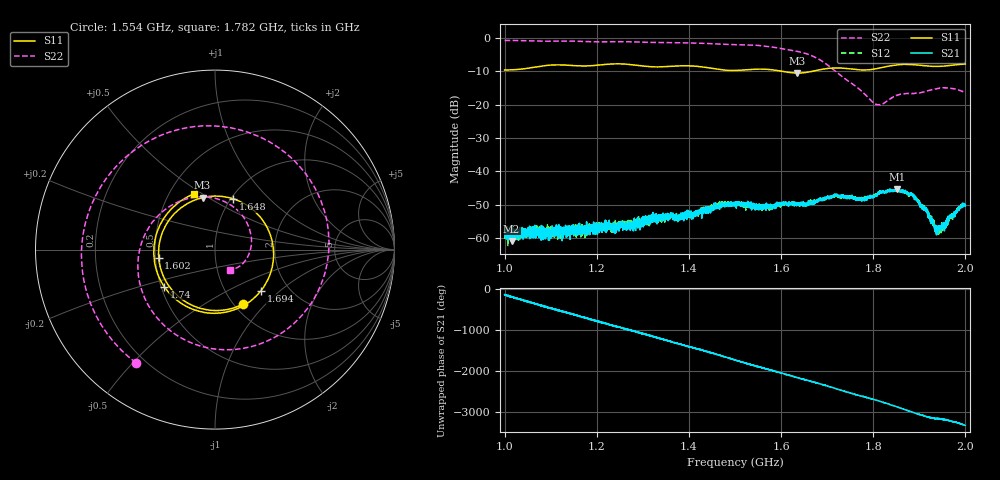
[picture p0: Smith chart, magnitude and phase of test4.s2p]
!Keysight Technologies N9923A: A.08.15
!Date: Friday, 16 February 2024 15:23:23
!Timezone: (GMT-05:00) Eastern Time (US & Canada)
!Model: N9923A
!Serial: MY52412730
!GPS Latitude:
!GPS Longitude:
!GPS TimeStamp: 0001-01-01 00:00:00Z
!GPS Seconds Since Last Read: 0
!CHECKSUM:0750090515
!Correction: S11(ON Q)S21(ON Q)S12(ON Q)S22(ON Q)
!S2P File: Measurements:S11,S21,S12,S22:
# Hz S DB R 50
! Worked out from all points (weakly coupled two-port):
!   4001 points, 1 GHz to 2 GHz, reference 50 ohm
!   highest |S21| = -45.29 dB at 1.852 GHz (marker M1); lowest = -60.9 dB at 1.015 GHz (marker M2)
!   lowest |S11| = -10.5 dB at 1.635 GHz (marker M3), VSWR 1.85, Z = 37.1 + j23.6 ohm
!   |S11| at or under -10 dB: 1.602 GHz to 1.668 GHz (65.1 MHz wide, 3.98 % of centre)
!   |S22| runs from -20.0 to -0.7 dB; largest |S21 - S12| = 0.00083
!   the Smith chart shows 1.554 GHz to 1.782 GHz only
!   S11 on the Smith chart (normalised r, x): 1.554 GHz: 1.09, -0.75; 1.602 GHz: 0.52, -0.05; 1.648 GHz: 1.03, +0.64; 1.694 GHz: 1.46, -0.75; 1.74 GHz: 0.52, -0.24; 1.782 GHz: 0.66, +0.46
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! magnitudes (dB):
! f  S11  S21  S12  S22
! 1 GHz  -9.6  -57.6  -58.0  -0.8
! 1.015 GHz  -9.6  -60.9  -57.8  -0.8
! 1.167 GHz  -8.4  -56.7  -57.1  -1.0
! 1.244 GHz  -7.8  -57.0  -56.5  -1.1
! 1.333 GHz  -8.7  -53.0  -53.9  -1.4
! 1.378 GHz  -8.4  -53.4  -53.3  -1.4
! 1.5 GHz  -9.7  -49.7  -49.6  -2.0
! 1.554 GHz  -9.3  -50.9  -51.1  -2.3
! 1.602 GHz  -10.0  -49.9  -49.5  -3.2
! 1.635 GHz  -10.5  -49.8  -50.2  -4.0
! 1.648 GHz  -10.4  -49.0  -49.4  -4.5
! 1.667 GHz  -10.0  -49.5  -49.0  -5.3
! 1.694 GHz  -9.3  -48.2  -48.5  -7.4
! 1.74 GHz  -9.1  -47.9  -47.7  -12.3
! 1.782 GHz  -9.6  -47.8  -47.8  -17.0
! 1.808 GHz  -9.2  -46.9  -46.9  -20.0
! 1.833 GHz  -8.5  -45.9  -45.8  -18.6
! 1.852 GHz  -8.1  -45.3  -45.7  -17.2
! 1.889 GHz  -8.0  -47.6  -47.3  -16.6
! 1.915 GHz  -8.4  -50.9  -51.1  -16.0
! 1.942 GHz  -8.5  -57.7  -57.5  -15.1
! 2 GHz  -7.8  -50.2  -50.0  -16.4
